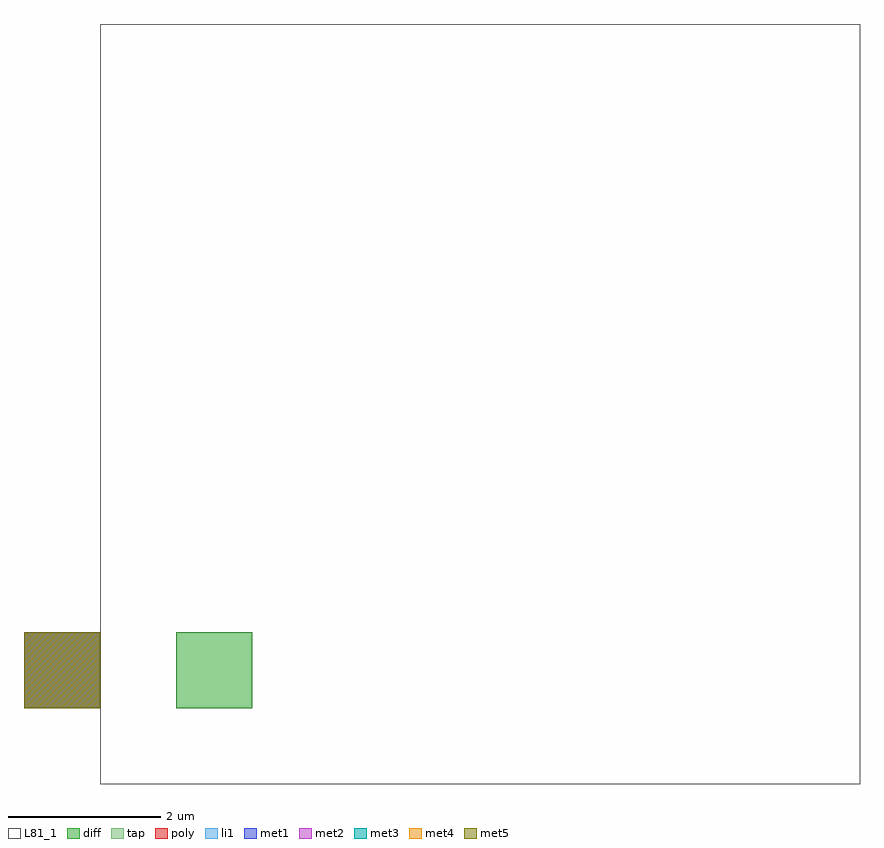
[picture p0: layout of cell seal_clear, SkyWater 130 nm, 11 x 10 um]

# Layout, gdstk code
import gdstk
lib = gdstk.Library(unit=1e-6, precision=1e-09)
def R(c, l, rs):  # rectangles x0, y0, x1, y1
    for r in rs: c.add(gdstk.rectangle(r[:2], r[2:], *l))
diff = (65, 20)
tap = (65, 44)
poly = (66, 20)
li1 = (67, 20)
met1 = (68, 20)
met2 = (69, 20)
met3 = (70, 20)
met4 = (71, 20)
met5 = (72, 20)
L81_1 = (81, 1)

seal_clear = lib.new_cell('seal_clear')
R(seal_clear, diff, [(1,1,2,2)])
R(seal_clear, tap, [(-1,1,0,2)])
R(seal_clear, poly, [(-1,1,0,2)])
R(seal_clear, li1, [(-1,1,0,2)])
R(seal_clear, met1, [(-1,1,0,2)])
R(seal_clear, met2, [(-1,1,0,2)])
R(seal_clear, met3, [(-1,1,0,2)])
R(seal_clear, met4, [(-1,1,0,2)])
R(seal_clear, met5, [(-1,1,0,2)])
R(seal_clear, L81_1, [(0,0,10,10)])

lib.write_gds('seal_clear.gds')
